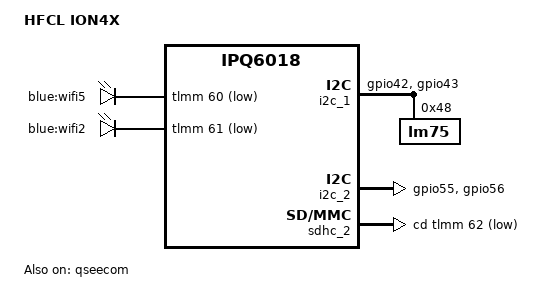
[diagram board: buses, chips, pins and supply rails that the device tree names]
/dts-v1/;
/*
 * Copyright (c) 2019, The Linux Foundation. All rights reserved.
 *
 * Permission to use, copy, modify, and/or distribute this software for any
 * purpose with or without fee is hereby granted, provided that the above
 * copyright notice and this permission notice appear in all copies.
 *
 * THE SOFTWARE IS PROVIDED "AS IS" AND THE AUTHOR DISCLAIMS ALL WARRANTIES
 * WITH REGARD TO THIS SOFTWARE INCLUDING ALL IMPLIED WARRANTIES OF
 * MERCHANTABILITY AND FITNESS. IN NO EVENT SHALL THE AUTHOR BE LIABLE FOR
 * ANY SPECIAL, DIRECT, INDIRECT, OR CONSEQUENTIAL DAMAGES OR ANY DAMAGES
 * WHATSOEVER RESULTING FROM LOSS OF USE, DATA OR PROFITS, WHETHER IN AN
 * ACTION OF CONTRACT, NEGLIGENCE OR OTHER TORTIOUS ACTION, ARISING OUT OF
 * OR IN CONNECTION WITH THE USE OR PERFORMANCE OF THIS SOFTWARE.
 */

#include "qcom-ipq6018-cp01-hfcl.dtsi"
#include "qcom-ipq6018-rpm-regulator.dtsi"
#include "qcom-ipq6018-cpr-regulator.dtsi"
#include "qcom-ipq6018-cp-cpu.dtsi"

/ {
	model = "HFCL ION4X";
	compatible = "hfcl,ion4x", "qcom,ipq6018-cp01", "qcom,ipq6018";

	/*
	 * +=========+==============+========================+
	 * |        |              |                         |
	 * | Region | Start Offset |          Size           |
	 * |        |              |                         |
	 * +--------+--------------+-------------------------+
	 * |        |              |                         |
	 * |        |              |                         |
	 * |        |              |                         |
	 * |        |              |                         |
	 * | Linux  |  0x41000000  |         139MB           |
	 * |        |              |                         |
	 * |        |              |                         |
	 * |        |              |                         |
	 * +--------+--------------+-------------------------+
	 * | TZ App |  0x49B00000  |           6MB           |
	 * +--------+--------------+-------------------------+
	 *
	 * From the available 145 MB for Linux in the first 256 MB,
	 * we are reserving 6 MB for TZAPP.
	 *
	 * Refer arch/arm64/boot/dts/qcom/qcom-ipq6018-memory.dtsi
	 * for memory layout.
	 */

/* TZAPP is enabled in default memory profile only */
#if !defined(__IPQ_MEM_PROFILE_256_MB__) && !defined(__IPQ_MEM_PROFILE_512_MB__)
	reserved-memory {
		tzapp:tzapp@49B00000 {	/* TZAPPS */
			no-map;
			reg = <0x0 0x49B00000 0x0 0x00600000>;
		};
	};
#endif
};

&tlmm {
	i2c_1_pins: i2c_1_pins {
		mux {
			pins = "gpio42", "gpio43";
			function = "blsp2_i2c";
			drive-strength = <8>;
			bias-pull-down;
		};
	};
	
	i2c_2_pins: i2c_2_pins {
                mux {
                        pins = "gpio55", "gpio56";
                        function = "blsp4_i2c";
                        drive-strength = <8>;
                        bias-pull-down;
                };
        };
};

&i2c_1 {
	pinctrl-0 = <&i2c_1_pins>;
	pinctrl-names = "default";
	status = "ok";

	lm75@48 {
		compatible = "lm75";
		reg = <0x48>;
		status = "okay";
	};
};

&i2c_2 {
        pinctrl-0 = <&i2c_2_pins>;
        pinctrl-names = "default";
        status = "ok";
};

&sdhc_2 {
	pinctrl-0 = <&sd_pins>;
	pinctrl-names = "default";
	cd-gpios = <&tlmm 62 1>;
	sd-ldo-gpios = <&tlmm 66 0>;
	vqmmc-supply = <&ipq6018_l2_corner>;
	status = "ok";
};

&soc {
        leds {
                compatible = "gpio-leds";
                pinctrl-0 = <&leds_pins>;
                pinctrl-names = "default";

                led@60 {
                        label = "blue:wifi5";
                        gpios = <&tlmm 60 GPIO_ACTIVE_LOW>;
                        linux,default-trigger = "led_5g";
                        default-state = "off";
                };
                led@61 {
                        label = "blue:wifi2";
                        gpios = <&tlmm 61 GPIO_ACTIVE_LOW>;
                        linux,default-trigger = "led_2g";
                        default-state = "off";
                };
        };
};

&tlmm {
	leds_pins: leds_pins {
		led_5g {
			pins = "gpio60";
			function = "gpio";
			drive-strength = <8>;
			bias-pull-down;
		};
		led_2g {
			pins = "gpio61";
			function = "gpio";
			drive-strength = <8>;
			bias-pull-down;
		};
	};
};

/* TZAPP is enabled in default memory profile only */
#if !defined(__IPQ_MEM_PROFILE_256_MB__) && !defined(__IPQ_MEM_PROFILE_512_MB__)
&qseecom {
	mem-start = <0x49B00000>;
	mem-size = <0x600000>;
	status = "ok";
};
#endif
